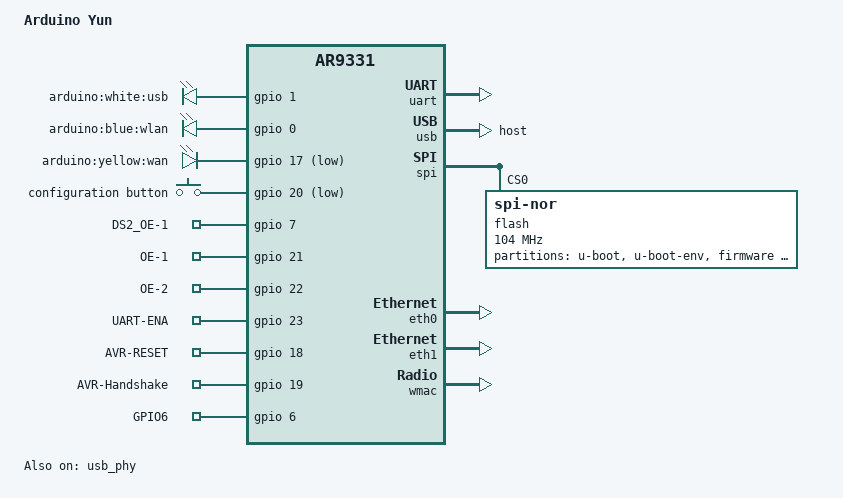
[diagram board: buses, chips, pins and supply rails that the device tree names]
// SPDX-License-Identifier: GPL-2.0
/dts-v1/;

#include <dt-bindings/gpio/gpio.h>
#include <dt-bindings/input/input.h>

#include "ar9331.dtsi"
/*

ar9331 GPIO : function
26	: bitbang SPI SS
27	: bitbang SPI MOSI
8	: bitbang SPI MISO
11	: bitbang SPI SCK
21	: SPI level shifter enable
19	: AVR handsake signal ( has 10k pullup )
6	: GP6 on pcb
22	: handshake and GP6 level shifter enable
23	: UART level shifter enable
18 	: AVR reset
20	: configuration button
1	: LED0 : Wireless LED (blue)
0	: LED1 : USB/System Led (White)
17	: LED6 : WAN led (yellow)
*/
/ {
	model = "Arduino Yun";
	compatible = "yun", "qca,ar9331";

	aliases {
		serial0 = &uart;
		led-boot = &led_system;
		led-failsafe = &led_system;
		led-running = &led_system;
		led-upgrade = &led_system;
	};

	leds {
		compatible = "gpio-leds";
		pinctrl-names = "default";
		pinctrl-0 = <&switch_led_pins>;

		led_system: system {
			label = "arduino:white:usb";
			gpios = <&gpio 1 GPIO_ACTIVE_HIGH>;
			default-state = "on";
		};

 		wlan {
                         label = "arduino:blue:wlan";
                         gpios = <&gpio 0 GPIO_ACTIVE_HIGH>;
                         default-state = "off";
			 linux,default-trigger = "phy0tpt";
                };
 
            	lan {
                         label = "arduino:yellow:wan";
                         gpios = <&gpio 17 GPIO_ACTIVE_LOW>; 
                         default-state = "off";
                };
	
	};
	keys {
		compatible = "gpio-keys-polled";
		poll-interval = <20>;

		button0 {
			label = "configuration button";
			linux,code = <KEY_WPS_BUTTON>;
			gpios = <&gpio 20 GPIO_ACTIVE_LOW>;
		};
 
	};

	gpio-export {
 		compatible = "gpio-export";
		pinctrl-names = "default";
		pinctrl-0 = <&mdio_gpio>; // needed for GPIO 26 and 27 

		gpio_DS2_OE_1 { // Put the avr reset to high ( was used on older boards, new ones use 18 )
			gpio-export,name = "DS2_OE-1";
			gpio-export,output = <0>; // init low
			gpio-export,direction_may_change;
			gpios = <&gpio 7 GPIO_ACTIVE_HIGH>;
		};

		gpio_level_shifter { // enable OE of level shifter ( SPI )
			gpio-export,name = "OE-1";
			gpio-export,output = <0>; // init low = disabled
			gpio-export,direction_may_change;
			gpios = <&gpio 21 GPIO_ACTIVE_HIGH>;
		};

		gpio_OE2 { 	// enable OE of level shifter ( handshake )
			gpio-export,name = "OE-2";
			gpio-export,output = <0>; // init low = disabled
			gpio-export,direction_may_change;
			gpios = <&gpio 22 GPIO_ACTIVE_HIGH>;
		};

		gpio_uart_en { // enable level shifter ( UART )
			gpio-export,name = "UART-ENA";
			gpio-export,output = <0>; // init low = enabled
			gpio-export,direction_may_change;
			gpios = <&gpio 23 GPIO_ACTIVE_HIGH>;
		};
		
		gpio_avr_reset { // AVR reset 
			gpio-export,name = "AVR-RESET";
			gpio-export,output = <0>; // init low ( AVR running normally - take High to Reset)
			gpio-export,direction_may_change;
			gpios = <&gpio 18 GPIO_ACTIVE_HIGH>;
		};

		gpio_handshake { // AVR handshake signal 
			gpio-export,name = "AVR-Handshake";
			gpio-export,output = <0>; // init low ( AVR running normally - take High to Reset)
			gpio-export,direction_may_change;
			gpios = <&gpio 19 GPIO_ACTIVE_HIGH>;
		};

		gpio_gpio6 { // AVR reset (take High to Reset)
			gpio-export,name = "GPIO6";
			gpio-export,output = <1>; // init high (has external 10k pullup )
			gpio-export,direction_may_change;
			gpios = <&gpio 6 GPIO_ACTIVE_HIGH>;
		};


	};

};

&chosen {
	bootargs = "console=ttyATH0,250000"; // arduino uses 250000 baud, possibly for "bridge" library to exchange data between AVR and Linux
};

&ref {
	clock-frequency = <25000000>;
};

&uart {
	status = "okay";
};

&gpio {
	status = "okay";
};

&usb {
	dr_mode = "host";
	status = "okay";
};

&usb_phy {
	status = "okay";
};

&spi {
	num-chipselects = <1>;
	status = "okay";

	/* Winbond 25Q128FVSG SPI flash */
	flash@0 {
		compatible = "jedec,spi-nor";
		spi-max-frequency = <104000000>;
		reg = <0>;
		partitions {
                          compatible = "fixed-partitions";
                          #address-cells = <1>;
                          #size-cells = <1>;
  
                          partition@0 {
                                  label = "u-boot";
                                  reg = <0x000000 0x040000>;
                                  read-only;
                          };
  
                          partition@1 {
                                  label = "u-boot-env";
                                  reg = <0x040000 0x010000>;
                          };
  
                          partition@2 {
                                  label = "firmware";
                                  reg = <0x050000 0xfa0000>;
                          };
  
                          art: partition@3 {
                                  label = "ART";
                                  reg = <0xff0000 0x010000>;
                                  read-only;
                          };
                  };
	};
};


&eth0 {
	// ETH0 ( wired ) gets MAC adress from art partition, modified : mac[3] |= 0x08; 
	// we cannot |=08  in dt, so we just increment by 1 so its different from wlan
	status = "okay";
	mtd-mac-address = <&art 0x1002>;
	mtd-mac-address-increment-byte = <3>;
	mtd-mac-address-increment = <(-1)>;
};

&eth1 {
	// ETH1 ( wired into switch but not present on PCB ) gets MAC adress from art partition, modified mac[3] &= 0xF7;
	// this port is not used at all on Yun
	status = "okay";
	//mtd-mac-address = <&art 0>;
	//mtd-mac-address-increment-byte = <3>;
	//mtd-mac-address-increment = <1>;
};

&wmac {
	// wmac ( wireless ) gets MAC adress from ART partition unmolested
	status = "okay";
	mtd-cal-data = <&art 0x1000>;
	mtd-mac-address = <&art 0x1002>;
};

&switch_led_pins{
	// disable switch controlled LEDs to use them as regular GPIO (13,14,15,16) ,  <offset value mask>;
	pinctrl-single,bits = <0x0 0x0 0xf8>;
};


